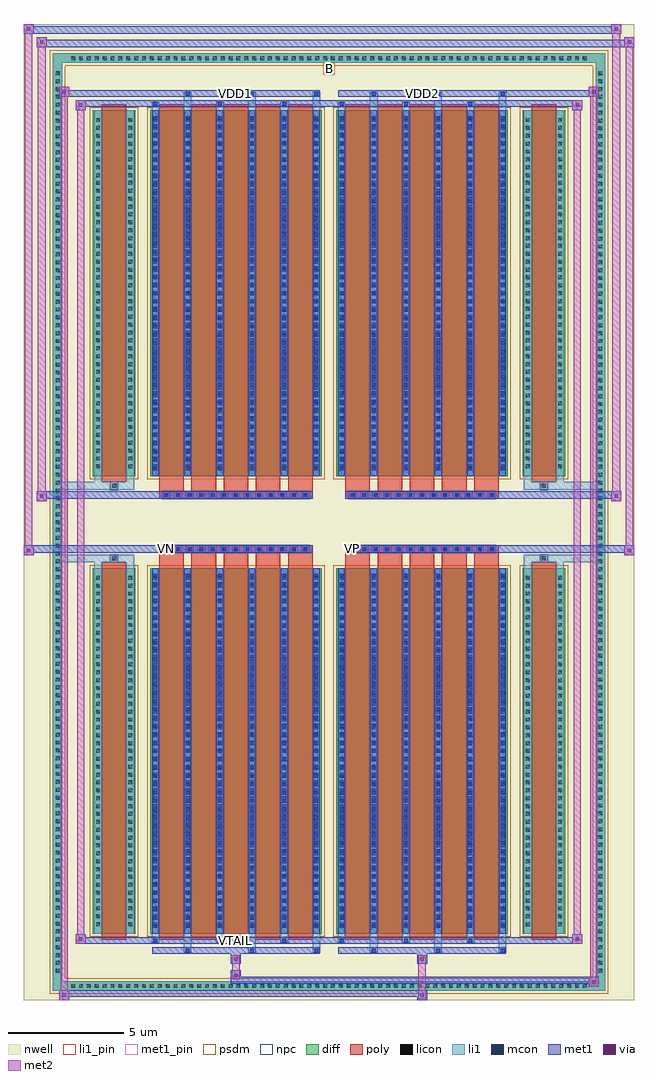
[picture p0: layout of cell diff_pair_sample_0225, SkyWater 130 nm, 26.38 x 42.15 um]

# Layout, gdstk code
import gdstk
lib = gdstk.Library(unit=1e-6, precision=5e-09)
def R(c, l, rs):  # rectangles x0, y0, x1, y1
    for r in rs: c.add(gdstk.rectangle(r[:2], r[2:], *l))
def A(c, l, x, y, w, h, nx, ny, dx, dy):  # array of equal rectangles
    R(c, l, [(x+i*dx, y+j*dy, x+i*dx+w, y+j*dy+h) for i in range(nx) for j in range(ny)])
def P(c, l, *ps):  # polygons
    for p in ps: c.add(gdstk.Polygon(p, *l))
nwell = (64, 20)
diff = (65, 20)
poly = (66, 20)
licon = (66, 44)
li1_pin = (67, 16)
li1 = (67, 20)
mcon = (67, 44)
met1_pin = (68, 16)
met1 = (68, 20)
via = (68, 44)
met2 = (69, 20)
psdm = (94, 20)
npc = (95, 20)

diff_pair_sample_0225 = lib.new_cell('diff_pair_sample_0225')
R(diff_pair_sample_0225, nwell, [(-13.19,-20.64,13.19,21.51), (-10.51,-18.83,-0.01,-0.805), (0.01,-18.83,10.51,-0.805), (-10.51,0.805,-0.01,18.83), (0.01,0.805,10.51,18.83)])
A(diff_pair_sample_0225, diff, -11.255, -20.24, 0.41, 0.41, 66, 2, 0.34, 40.07)
A(diff_pair_sample_0225, diff, -11.92, -19.585, 0.41, 0.41, 1, 115, 0, 0.34)
A(diff_pair_sample_0225, diff, 11.51, -19.585, 0.41, 0.41, 1, 115, 0, 0.34)
R(diff_pair_sample_0225, diff, [(-11.255,-20.24,11.255,-19.83), (-11.92,-19.585,-11.51,19.585), (11.51,-19.585,11.92,19.585), (-10.2,-17.785,-8.36,-1.985), (-7.72,-17.785,-0.32,-1.985), (0.32,-17.785,7.72,-1.985), (8.36,-17.785,10.2,-1.985), (-10.2,1.985,-8.36,17.785), (-7.72,1.985,-0.32,17.785), (0.32,1.985,7.72,17.785), (8.36,1.985,10.2,17.785), (-11.255,19.83,11.255,20.24)])
P(diff_pair_sample_0225, diff, [(11.92,20.24),(-11.92,20.24),(-11.92,-19.83),(-11.51,-19.83),(-11.51,19.83),(11.51,19.83),(11.51,-19.83),(-11.51,-19.83),(-11.92,-19.83),(-11.92,-20.24),(11.92,-20.24)])
A(diff_pair_sample_0225, poly, -7.33, -18.035, 1.06, 16.3, 5, 2, 1.39, 19.77)
A(diff_pair_sample_0225, poly, 0.71, -18.035, 1.06, 16.3, 5, 2, 1.39, 19.77)
A(diff_pair_sample_0225, poly, -7.33, -1.735, 1.06, 0.4, 5, 2, 1.39, 3.07)
A(diff_pair_sample_0225, poly, 0.71, -1.735, 1.06, 0.4, 5, 2, 1.39, 3.07)
A(diff_pair_sample_0225, poly, -7.185, -1.335, 0.33, 0.33, 13, 2, 0.5, 2.34)
A(diff_pair_sample_0225, poly, 0.855, -1.335, 0.33, 0.33, 13, 2, 0.5, 2.34)
R(diff_pair_sample_0225, poly, [(-9.81,-18.035,-8.75,-1.735), (8.75,-18.035,9.81,-1.735), (-9.445,-1.735,-9.115,-1.405), (-9.445,-1.735,-9.115,-1.405), (9.115,-1.735,9.445,-1.405), (9.115,-1.735,9.445,-1.405), (-7.33,-1.335,-0.71,-1.005), (0.71,-1.335,7.33,-1.005), (-7.33,1.005,-0.71,1.335), (0.71,1.005,7.33,1.335), (-9.445,1.405,-9.115,1.735), (-9.445,1.405,-9.115,1.735), (9.115,1.405,9.445,1.735), (9.115,1.405,9.445,1.735), (-9.81,1.735,-8.75,18.035), (8.75,1.735,9.81,18.035)])
A(diff_pair_sample_0225, licon, -11.135, -20.12, 0.17, 0.17, 66, 2, 0.34, 40.07)
A(diff_pair_sample_0225, licon, -11.8, -19.465, 0.17, 0.17, 1, 115, 0, 0.34)
A(diff_pair_sample_0225, licon, 11.63, -19.465, 0.17, 0.17, 1, 115, 0, 0.34)
A(diff_pair_sample_0225, licon, -10.06, -17.45, 0.17, 0.17, 1, 45, 0, 0.34)
A(diff_pair_sample_0225, licon, -8.67, -17.45, 0.17, 0.17, 1, 45, 0, 0.34)
A(diff_pair_sample_0225, licon, -7.58, -17.45, 0.17, 0.17, 6, 45, 1.39, 0.34)
A(diff_pair_sample_0225, licon, 0.46, -17.45, 0.17, 0.17, 6, 45, 1.39, 0.34)
A(diff_pair_sample_0225, licon, 8.5, -17.45, 0.17, 0.17, 1, 45, 0, 0.34)
A(diff_pair_sample_0225, licon, 9.89, -17.45, 0.17, 0.17, 1, 45, 0, 0.34)
A(diff_pair_sample_0225, licon, -7.105, -1.255, 0.17, 0.17, 13, 2, 0.5, 2.34)
A(diff_pair_sample_0225, licon, 0.935, -1.255, 0.17, 0.17, 13, 2, 0.5, 2.34)
A(diff_pair_sample_0225, licon, -10.06, 2.32, 0.17, 0.17, 1, 45, 0, 0.34)
A(diff_pair_sample_0225, licon, -8.67, 2.32, 0.17, 0.17, 1, 45, 0, 0.34)
A(diff_pair_sample_0225, licon, -7.58, 2.32, 0.17, 0.17, 6, 45, 1.39, 0.34)
A(diff_pair_sample_0225, licon, 0.46, 2.32, 0.17, 0.17, 6, 45, 1.39, 0.34)
A(diff_pair_sample_0225, licon, 8.5, 2.32, 0.17, 0.17, 1, 45, 0, 0.34)
A(diff_pair_sample_0225, licon, 9.89, 2.32, 0.17, 0.17, 1, 45, 0, 0.34)
R(diff_pair_sample_0225, licon, [(-9.365,-1.655,-9.195,-1.485), (9.195,-1.655,9.365,-1.485), (-9.365,1.485,-9.195,1.655), (9.195,1.485,9.365,1.655)])
R(diff_pair_sample_0225, li1_pin, [(-0.25,19.33,0.25,19.83)])
A(diff_pair_sample_0225, li1, -11.215, -20.2, 0.33, 0.33, 66, 2, 0.34, 40.07)
A(diff_pair_sample_0225, li1, -11.88, -19.545, 0.33, 0.33, 1, 115, 0, 0.34)
A(diff_pair_sample_0225, li1, 11.55, -19.545, 0.33, 0.33, 1, 115, 0, 0.34)
A(diff_pair_sample_0225, li1, -6.27, -18.59, 0.33, 0.805, 3, 2, 2.78, 36.375)
A(diff_pair_sample_0225, li1, -6.19, -18.59, 0.17, 0.17, 3, 2, 2.78, 37.01)
A(diff_pair_sample_0225, li1, 1.77, -18.59, 0.33, 0.805, 3, 2, 2.78, 36.375)
A(diff_pair_sample_0225, li1, 1.85, -18.59, 0.17, 0.17, 3, 2, 2.78, 37.01)
A(diff_pair_sample_0225, li1, -7.66, -18.16, 0.33, 0.375, 3, 2, 2.78, 35.945)
A(diff_pair_sample_0225, li1, -7.58, -18.16, 0.17, 0.17, 3, 2, 2.78, 36.15)
A(diff_pair_sample_0225, li1, 0.38, -18.16, 0.33, 0.375, 3, 2, 2.78, 35.945)
A(diff_pair_sample_0225, li1, 0.46, -18.16, 0.17, 0.17, 3, 2, 2.78, 36.15)
A(diff_pair_sample_0225, li1, -7.66, -17.785, 0.33, 15.8, 6, 2, 1.39, 19.77)
A(diff_pair_sample_0225, li1, 0.38, -17.785, 0.33, 15.8, 6, 2, 1.39, 19.77)
A(diff_pair_sample_0225, li1, -10.14, -17.53, 0.33, 0.33, 1, 45, 0, 0.34)
A(diff_pair_sample_0225, li1, -8.75, -17.53, 0.33, 0.33, 1, 45, 0, 0.34)
A(diff_pair_sample_0225, li1, -7.66, -17.53, 0.33, 0.33, 6, 45, 1.39, 0.34)
A(diff_pair_sample_0225, li1, -7.58, -17.53, 0.17, 0.17, 6, 43, 1.39, 0.36)
A(diff_pair_sample_0225, li1, -7.58, -17.53, 0.17, 15.29, 6, 2, 1.39, 19.77)
A(diff_pair_sample_0225, li1, 0.38, -17.53, 0.33, 0.33, 6, 45, 1.39, 0.34)
A(diff_pair_sample_0225, li1, 0.46, -17.53, 0.17, 0.17, 6, 43, 1.39, 0.36)
A(diff_pair_sample_0225, li1, 0.46, -17.53, 0.17, 15.29, 6, 2, 1.39, 19.77)
A(diff_pair_sample_0225, li1, 8.42, -17.53, 0.33, 0.33, 1, 45, 0, 0.34)
A(diff_pair_sample_0225, li1, 9.81, -17.53, 0.33, 0.33, 1, 45, 0, 0.34)
A(diff_pair_sample_0225, li1, -7.185, -1.335, 0.33, 0.33, 13, 2, 0.5, 2.34)
A(diff_pair_sample_0225, li1, 0.855, -1.335, 0.33, 0.33, 13, 2, 0.5, 2.34)
A(diff_pair_sample_0225, li1, -10.14, 2.24, 0.33, 0.33, 1, 45, 0, 0.34)
A(diff_pair_sample_0225, li1, -8.75, 2.24, 0.33, 0.33, 1, 45, 0, 0.34)
A(diff_pair_sample_0225, li1, -7.66, 2.24, 0.33, 0.33, 6, 45, 1.39, 0.34)
A(diff_pair_sample_0225, li1, -7.58, 2.24, 0.17, 0.17, 6, 43, 1.39, 0.36)
A(diff_pair_sample_0225, li1, 0.38, 2.24, 0.33, 0.33, 6, 45, 1.39, 0.34)
A(diff_pair_sample_0225, li1, 0.46, 2.24, 0.17, 0.17, 6, 43, 1.39, 0.36)
A(diff_pair_sample_0225, li1, 8.42, 2.24, 0.33, 0.33, 1, 45, 0, 0.34)
A(diff_pair_sample_0225, li1, 9.81, 2.24, 0.33, 0.33, 1, 45, 0, 0.34)
R(diff_pair_sample_0225, li1, [(-11.92,-20.24,-11.51,-19.83), (-11.92,-20.24,-11.51,-19.83), (-11.51,-20.24,11.51,-19.83), (11.51,-20.24,11.92,-19.83), (11.51,-20.24,11.92,-19.83), (-11.92,-19.83,-11.51,19.83), (11.51,-19.83,11.92,19.83), (-10.14,-17.785,-9.81,-1.985), (-8.75,-17.785,-8.42,-1.985), (8.42,-17.785,8.75,-1.985), (9.81,-17.785,10.14,-1.985), (-10.14,-1.985,-9.81,-1.405), (-8.75,-1.985,-8.42,-1.405), (8.42,-1.985,8.75,-1.405), (9.81,-1.985,10.14,-1.405), (-11.92,-1.735,-9.445,-1.405), (-10.14,-1.735,-9.445,-1.405), (-9.445,-1.735,-9.115,-1.405), (-9.115,-1.735,-8.42,-1.405), (8.42,-1.735,9.115,-1.405), (9.115,-1.735,9.445,-1.405), (9.115,-1.735,11.92,-1.405), (9.445,-1.735,10.14,-1.405), (-11.92,1.405,-9.445,1.735), (-10.14,1.405,-9.445,1.735), (-10.14,1.405,-9.81,1.985), (-9.445,1.405,-9.115,1.735), (-9.115,1.405,-8.42,1.735), (-8.75,1.405,-8.42,1.985), (8.42,1.405,9.115,1.735), (8.42,1.405,8.75,1.985), (9.115,1.405,9.445,1.735), (9.115,1.405,11.92,1.735), (9.445,1.405,10.14,1.735), (9.81,1.405,10.14,1.985), (-10.14,1.985,-9.81,17.785), (-8.75,1.985,-8.42,17.785), (8.42,1.985,8.75,17.785), (9.81,1.985,10.14,17.785), (-11.92,19.83,-11.51,20.24), (-11.92,19.83,-11.51,20.24), (-11.51,19.83,11.51,20.24), (11.51,19.83,11.92,20.24), (11.51,19.83,11.92,20.24)])
A(diff_pair_sample_0225, mcon, -6.19, -18.59, 0.17, 0.17, 3, 2, 2.78, 37.01)
A(diff_pair_sample_0225, mcon, 1.85, -18.59, 0.17, 0.17, 3, 2, 2.78, 37.01)
A(diff_pair_sample_0225, mcon, -7.58, -18.16, 0.17, 0.17, 3, 2, 2.78, 36.15)
A(diff_pair_sample_0225, mcon, 0.46, -18.16, 0.17, 0.17, 3, 2, 2.78, 36.15)
A(diff_pair_sample_0225, mcon, -7.58, -17.53, 0.17, 0.17, 6, 43, 1.39, 0.36)
A(diff_pair_sample_0225, mcon, 0.46, -17.53, 0.17, 0.17, 6, 43, 1.39, 0.36)
A(diff_pair_sample_0225, mcon, -7.105, -1.255, 0.17, 0.17, 13, 2, 0.5, 2.34)
A(diff_pair_sample_0225, mcon, 0.935, -1.255, 0.17, 0.17, 13, 2, 0.5, 2.34)
A(diff_pair_sample_0225, mcon, -7.58, 2.24, 0.17, 0.17, 6, 43, 1.39, 0.36)
A(diff_pair_sample_0225, mcon, 0.46, 2.24, 0.17, 0.17, 6, 43, 1.39, 0.36)
R(diff_pair_sample_0225, met1_pin, [(-4.155,-18.2,-3.885,-17.93), (-7.155,-1.295,-6.885,-1.025), (0.885,-1.295,1.155,-1.025), (-4.155,18.38,-3.885,18.65), (3.885,18.38,4.155,18.65)])
A(diff_pair_sample_0225, met1, -6.25, -18.65, 0.29, 0.29, 3, 2, 2.78, 37.01)
A(diff_pair_sample_0225, met1, 1.79, -18.65, 0.29, 0.29, 3, 2, 2.78, 37.01)
A(diff_pair_sample_0225, met1, -7.64, -18.22, 0.29, 0.29, 3, 2, 2.78, 36.15)
A(diff_pair_sample_0225, met1, 0.4, -18.22, 0.29, 0.29, 3, 2, 2.78, 36.15)
A(diff_pair_sample_0225, met1, -7.64, -17.785, 0.29, 15.8, 6, 2, 1.39, 19.77)
A(diff_pair_sample_0225, met1, 0.4, -17.785, 0.29, 15.8, 6, 2, 1.39, 19.77)
A(diff_pair_sample_0225, met1, -7.64, -17.59, 0.29, 0.29, 6, 43, 1.39, 0.36)
A(diff_pair_sample_0225, met1, 0.4, -17.59, 0.29, 0.29, 6, 43, 1.39, 0.36)
A(diff_pair_sample_0225, met1, -7.165, -1.315, 0.29, 0.29, 13, 2, 0.5, 2.34)
A(diff_pair_sample_0225, met1, 0.875, -1.315, 0.29, 0.29, 13, 2, 0.5, 2.34)
A(diff_pair_sample_0225, met1, -7.64, 2.18, 0.29, 0.29, 6, 43, 1.39, 0.36)
A(diff_pair_sample_0225, met1, 0.4, 2.18, 0.29, 0.29, 6, 43, 1.39, 0.36)
R(diff_pair_sample_0225, met1, [(-11.65,-20.64,-11.22,-20.21), (3.805,-20.64,4.235,-20.21), (-11.65,-20.5,4.235,-20.21), (11.22,-20.07,11.65,-19.64), (-4.235,-19.93,11.65,-19.64), (-4.235,-19.79,-3.805,-19.36), (-4.235,-19.08,-3.805,-18.65), (3.805,-19.08,4.235,-18.65), (-7.64,-18.65,-0.4,-18.36), (0.4,-18.65,7.64,-18.36), (-10.94,-18.22,-10.51,-17.79), (-10.94,-18.22,-7.64,-17.93), (-7.64,-18.22,-0.4,-17.93), (-0.4,-18.22,0.4,-17.93), (0.4,-18.22,7.64,-17.93), (7.64,-18.22,10.94,-17.93), (10.51,-18.22,10.94,-17.79), (-13.19,-1.435,-12.76,-1.005), (12.76,-1.435,13.19,-1.005), (-13.19,-1.335,-0.71,-1.005), (-7.33,-1.335,-0.71,-1.005), (0.71,-1.335,7.33,-1.005), (0.71,-1.335,13.19,-1.005), (-12.62,0.905,-12.19,1.335), (12.19,0.905,12.62,1.335), (-12.62,1.005,-7.33,1.335), (-7.33,1.005,-0.71,1.335), (0.71,1.005,7.33,1.335), (7.33,1.005,12.62,1.335), (-10.94,17.79,-10.51,18.22), (10.51,17.79,10.94,18.22), (-10.94,17.93,-7.64,18.22), (-7.64,17.93,-0.4,18.22), (-0.4,17.93,0.4,18.22), (0.4,17.93,7.64,18.22), (7.64,17.93,10.94,18.22), (-11.65,18.36,-11.22,18.79), (-11.65,18.36,-7.64,18.65), (-7.64,18.36,-0.4,18.65), (0.4,18.36,7.64,18.65), (7.64,18.36,11.65,18.65), (11.22,18.36,11.65,18.79), (-12.62,20.51,-12.19,20.94), (-12.62,20.51,-10.51,20.84), (-10.51,20.51,10.51,20.84), (10.51,20.51,13.19,20.84), (12.76,20.51,13.19,20.94), (-13.19,21.08,-12.76,21.51), (-13.19,21.08,-10.51,21.41), (-10.51,21.08,10.51,21.41), (10.51,21.08,12.62,21.41), (12.19,21.08,12.62,21.51)])
R(diff_pair_sample_0225, via, [(-11.51,-20.5,-11.36,-20.35), (3.945,-20.5,4.095,-20.35), (11.36,-19.93,11.51,-19.78), (-4.095,-19.65,-3.945,-19.5), (-4.095,-18.94,-3.945,-18.79), (3.945,-18.94,4.095,-18.79), (-10.8,-18.08,-10.65,-17.93), (10.65,-18.08,10.8,-17.93), (-13.05,-1.295,-12.9,-1.145), (12.9,-1.295,13.05,-1.145), (-12.48,1.045,-12.33,1.195), (12.33,1.045,12.48,1.195), (-10.8,17.93,-10.65,18.08), (10.65,17.93,10.8,18.08), (-11.51,18.5,-11.36,18.65), (11.36,18.5,11.51,18.65), (-12.48,20.65,-12.33,20.8), (12.9,20.65,13.05,20.8), (-13.05,21.22,-12.9,21.37), (12.33,21.22,12.48,21.37)])
R(diff_pair_sample_0225, met2, [(-11.65,-20.64,-11.22,-20.21), (-11.58,-20.64,-11.29,18.79), (-11.29,-20.64,-11.22,-20.21), (-11.6,-20.59,-11.27,-20.26), (3.855,-20.59,4.185,-20.26), (3.855,-20.26,4.185,-19.03), (11.22,-20.07,11.65,-19.64), (11.29,-20.07,11.58,18.79), (11.58,-20.07,11.65,-19.64), (11.27,-20.02,11.6,-19.69), (-4.185,-19.74,-3.855,-19.41), (-4.185,-19.41,-3.855,-19.03), (-4.185,-19.03,-3.855,-18.7), (3.855,-19.03,4.185,-18.7), (-10.94,-18.22,-10.51,-17.79), (-10.87,-18.22,-10.58,18.22), (-10.58,-18.22,-10.51,-17.79), (10.51,-18.22,10.94,-17.79), (10.58,-18.22,10.87,18.22), (10.87,-18.22,10.94,-17.79), (-10.89,-18.17,-10.56,-17.84), (10.56,-18.17,10.89,-17.84), (-13.19,-1.435,-12.76,-1.005), (-13.14,-1.435,-12.81,21.51), (-12.81,-1.435,-12.76,-1.005), (12.76,-1.435,13.19,-1.005), (12.81,-1.435,13.14,20.94), (13.14,-1.435,13.19,-1.005), (-13.14,-1.385,-12.81,-1.055), (12.81,-1.385,13.14,-1.055), (-12.62,0.905,-12.19,1.335), (-12.57,0.905,-12.24,20.94), (-12.24,0.905,-12.19,1.335), (12.19,0.905,12.62,1.335), (12.24,0.905,12.57,21.51), (12.57,0.905,12.62,1.335), (-12.57,0.955,-12.24,1.285), (12.24,0.955,12.57,1.285), (-10.94,17.79,-10.51,18.22), (-10.58,17.79,-10.51,18.22), (10.51,17.79,10.94,18.22), (10.87,17.79,10.94,18.22), (-10.89,17.84,-10.56,18.17), (10.56,17.84,10.89,18.17), (-11.65,18.36,-11.22,18.79), (-11.29,18.36,-11.22,18.79), (11.22,18.36,11.65,18.79), (11.58,18.36,11.65,18.79), (-11.6,18.41,-11.27,18.74), (11.27,18.41,11.6,18.74), (-12.62,20.51,-12.19,20.94), (-12.24,20.51,-12.19,20.94), (12.76,20.51,13.19,20.94), (13.14,20.51,13.19,20.94), (-12.57,20.56,-12.24,20.89), (12.81,20.56,13.14,20.89), (-13.19,21.08,-12.76,21.51), (-12.81,21.08,-12.76,21.51), (12.19,21.08,12.62,21.51), (12.57,21.08,12.62,21.51), (-13.14,21.13,-12.81,21.46), (12.24,21.13,12.57,21.46)])
R(diff_pair_sample_0225, psdm, [(-10.33,-17.915,-8.23,-1.855), (-7.85,-17.915,-0.19,-1.855), (0.19,-17.915,7.85,-1.855), (8.23,-17.915,10.33,-1.855), (-10.33,1.855,-8.23,17.915), (-7.85,1.855,-0.19,17.915), (0.19,1.855,7.85,17.915), (8.23,1.855,10.33,17.915)])
P(diff_pair_sample_0225, psdm, [(12.05,20.37),(-12.05,20.37),(-12.05,-19.7),(-11.38,-19.7),(-11.38,19.7),(11.38,19.7),(11.38,-19.7),(-11.38,-19.7),(-12.05,-19.7),(-12.05,-20.37),(12.05,-20.37)])
A(diff_pair_sample_0225, npc, -7.205, -1.355, 0.37, 0.37, 13, 2, 0.5, 2.34)
A(diff_pair_sample_0225, npc, 0.835, -1.355, 0.37, 0.37, 13, 2, 0.5, 2.34)
R(diff_pair_sample_0225, npc, [(-9.465,-1.755,-9.095,-1.385), (9.095,-1.755,9.465,-1.385), (-7.205,-1.355,-6.335,-0.985), (-7.205,-1.355,-6.335,-0.985), (-6.705,-1.355,-5.835,-0.985), (-6.705,-1.355,-5.835,-0.985), (-6.205,-1.355,-5.335,-0.985), (-6.205,-1.355,-5.335,-0.985), (-5.705,-1.355,-4.835,-0.985), (-5.705,-1.355,-4.835,-0.985), (-5.205,-1.355,-4.335,-0.985), (-5.205,-1.355,-4.335,-0.985), (-4.705,-1.355,-3.835,-0.985), (-4.705,-1.355,-3.835,-0.985), (-4.205,-1.355,-3.335,-0.985), (-4.205,-1.355,-3.335,-0.985), (-3.705,-1.355,-2.835,-0.985), (-3.705,-1.355,-2.835,-0.985), (-3.205,-1.355,-2.335,-0.985), (-3.205,-1.355,-2.335,-0.985), (-2.705,-1.355,-1.835,-0.985), (-2.705,-1.355,-1.835,-0.985), (-2.205,-1.355,-1.335,-0.985), (-2.205,-1.355,-1.335,-0.985), (-1.705,-1.355,-0.835,-0.985), (-1.705,-1.355,-0.835,-0.985), (0.835,-1.355,1.705,-0.985), (0.835,-1.355,1.705,-0.985), (1.335,-1.355,2.205,-0.985), (1.335,-1.355,2.205,-0.985), (1.835,-1.355,2.705,-0.985), (1.835,-1.355,2.705,-0.985), (2.335,-1.355,3.205,-0.985), (2.335,-1.355,3.205,-0.985), (2.835,-1.355,3.705,-0.985), (2.835,-1.355,3.705,-0.985), (3.335,-1.355,4.205,-0.985), (3.335,-1.355,4.205,-0.985), (3.835,-1.355,4.705,-0.985), (3.835,-1.355,4.705,-0.985), (4.335,-1.355,5.205,-0.985), (4.335,-1.355,5.205,-0.985), (4.835,-1.355,5.705,-0.985), (4.835,-1.355,5.705,-0.985), (5.335,-1.355,6.205,-0.985), (5.335,-1.355,6.205,-0.985), (5.835,-1.355,6.705,-0.985), (5.835,-1.355,6.705,-0.985), (6.335,-1.355,7.205,-0.985), (6.335,-1.355,7.205,-0.985), (-7.205,0.985,-6.335,1.355), (-7.205,0.985,-6.335,1.355), (-6.705,0.985,-5.835,1.355), (-6.705,0.985,-5.835,1.355), (-6.205,0.985,-5.335,1.355), (-6.205,0.985,-5.335,1.355), (-5.705,0.985,-4.835,1.355), (-5.705,0.985,-4.835,1.355), (-5.205,0.985,-4.335,1.355), (-5.205,0.985,-4.335,1.355), (-4.705,0.985,-3.835,1.355), (-4.705,0.985,-3.835,1.355), (-4.205,0.985,-3.335,1.355), (-4.205,0.985,-3.335,1.355), (-3.705,0.985,-2.835,1.355), (-3.705,0.985,-2.835,1.355), (-3.205,0.985,-2.335,1.355), (-3.205,0.985,-2.335,1.355), (-2.705,0.985,-1.835,1.355), (-2.705,0.985,-1.835,1.355), (-2.205,0.985,-1.335,1.355), (-2.205,0.985,-1.335,1.355), (-1.705,0.985,-0.835,1.355), (-1.705,0.985,-0.835,1.355), (0.835,0.985,1.705,1.355), (0.835,0.985,1.705,1.355), (1.335,0.985,2.205,1.355), (1.335,0.985,2.205,1.355), (1.835,0.985,2.705,1.355), (1.835,0.985,2.705,1.355), (2.335,0.985,3.205,1.355), (2.335,0.985,3.205,1.355), (2.835,0.985,3.705,1.355), (2.835,0.985,3.705,1.355), (3.335,0.985,4.205,1.355), (3.335,0.985,4.205,1.355), (3.835,0.985,4.705,1.355), (3.835,0.985,4.705,1.355), (4.335,0.985,5.205,1.355), (4.335,0.985,5.205,1.355), (4.835,0.985,5.705,1.355), (4.835,0.985,5.705,1.355), (5.335,0.985,6.205,1.355), (5.335,0.985,6.205,1.355), (5.835,0.985,6.705,1.355), (5.835,0.985,6.705,1.355), (6.335,0.985,7.205,1.355), (6.335,0.985,7.205,1.355), (-9.465,1.385,-9.095,1.755), (9.095,1.385,9.465,1.755)])
diff_pair_sample_0225.add(gdstk.Label('VTAIL', (-4.02,-18.065), layer=68, texttype=5))
diff_pair_sample_0225.add(gdstk.Label('VN', (-7.02,-1.16), layer=68, texttype=5))
diff_pair_sample_0225.add(gdstk.Label('VP', (1.02,-1.16), layer=68, texttype=5))
diff_pair_sample_0225.add(gdstk.Label('B', (0,19.58), layer=67, texttype=5))
diff_pair_sample_0225.add(gdstk.Label('VDD2', (4.02,18.515), layer=68, texttype=5))
diff_pair_sample_0225.add(gdstk.Label('VDD1', (-4.02,18.515), layer=68, texttype=5))

lib.write_gds('diff_pair_sample_0225.gds')
